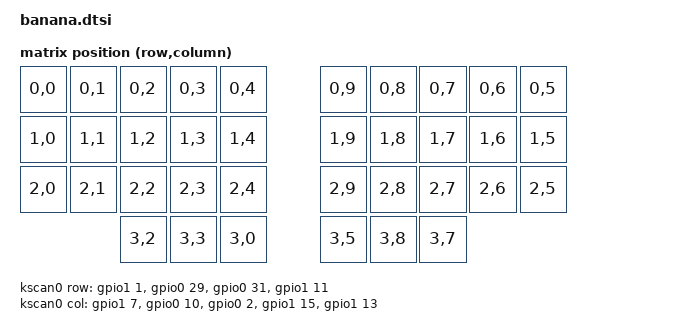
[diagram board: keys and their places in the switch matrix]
#include <dt-bindings/zmk/matrix_transform.h> // Put this with the other includes at the top of your dtsi   
#include "boards/nice_nano.overlay"
#include "banana-layouts.dtsi"

/ {
    chosen {
        zmk,kscan = &kscan0;
        zmk,physical-layout = &physical_layout0;
        zmk,underglow = &led_strip;
        zmk,battery = &vbatt;
        // Other chosen items
    };
};

/ { vbatt: vbatt {
        compatible = "zmk,battery-nrf-vddh";
    };
};

/ {
    kscan0: kscan0 {
        compatible = "zmk,kscan-gpio-matrix";
        diode-direction = "row2col";
        wakeup-source;

        row-gpios
            = <&gpio1 1 GPIO_ACTIVE_HIGH>
            , <&gpio0 29 GPIO_ACTIVE_HIGH>
            , <&gpio0 31 GPIO_ACTIVE_HIGH>
            , <&gpio1 11 GPIO_ACTIVE_HIGH>
            ;
        col-gpios
            = <&gpio1 7 (GPIO_ACTIVE_HIGH | GPIO_PULL_DOWN)>
            , <&gpio0 10 (GPIO_ACTIVE_HIGH | GPIO_PULL_DOWN)>
            , <&gpio0 2 (GPIO_ACTIVE_HIGH | GPIO_PULL_DOWN)>
            , <&gpio1 15 (GPIO_ACTIVE_HIGH | GPIO_PULL_DOWN)>
            , <&gpio1 13 (GPIO_ACTIVE_HIGH | GPIO_PULL_DOWN)>
            ;
        };
    };

/ {
    default_transform: keymap_transform0 {
        compatible = "zmk,matrix-transform";
        columns = <10>;
        rows = <4>;
        map = <
        //  LKey 1 |LKey 2 |LKey 3 |LKey 4 |LKey 5 |     RKey 1 |RKey 2 |RKey 3 |RKey 4 |RKey 5
            RC(0,0) RC(0,1) RC(0,2) RC(0,3) RC(0,4)      RC(0,9) RC(0,8) RC(0,7) RC(0,6) RC(0,5)
        //  LKey 6 |LKey 7 |LKey 8 |LKey 9 |LKey 10|     RKey 6 |RKey 7 |RKey 8 |RKey 9 |RKey 10
            RC(1,0) RC(1,1) RC(1,2) RC(1,3) RC(1,4)      RC(1,9) RC(1,8) RC(1,7) RC(1,6) RC(1,5)
        //  LKey 11|LKey 12|LKey 13|LKey 14|LKey 15|     RKey 11|RKey 12|RKey 13|RKey 14|RKey 15
            RC(2,0) RC(2,1) RC(2,2) RC(2,3) RC(2,4)      RC(2,9) RC(2,8) RC(2,7) RC(2,6) RC(2,5)
        //                  LKey 16|LKey 17|LKey 18|     Rkey16|Rkey17|Rkey18|
	                        RC(3,2) RC(3,3) RC(3,0)      RC(3,5) RC(3,8) RC(3,7)
	 >;
    };
};
